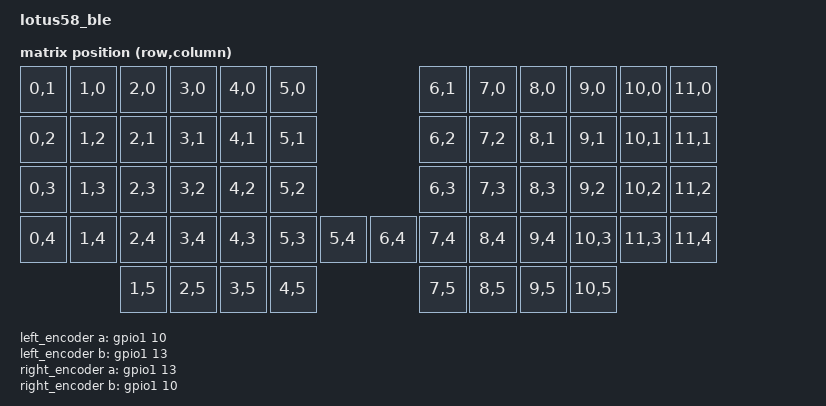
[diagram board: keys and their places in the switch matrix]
/*
 * Copyright (c) 2022 The ZMK Contributors
 *
 * SPDX-License-Identifier: MIT
 */

/dts-v1/;
#include <nordic/nrf52840_qiaa.dtsi>
#include <dt-bindings/zmk/matrix_transform.h>

/ {
	model = "lotus58_ble";
	compatible = "lotus58_ble";

	chosen {
		zephyr,code-partition = &code_partition;
		zephyr,sram = &sram0;
		zephyr,flash = &flash0;
    zmk,matrix_transform = &default_transform;
    zmk,kscan = &kscan0;
    zmk,battery = &vbatt;
	};

  default_transform: keymap_transform_0 {
    compatible = "zmk,matrix-transform";
    columns = <12>;
    rows = <6>;
// | SW6  | SW5  | SW4  | SW3  | SW2  | SW1  |                 | SW1  | SW2  | SW3  | SW4  | SW5  | SW6  |
// | SW12 | SW11 | SW10 | SW9  | SW8  | SW7  |                 | SW7  | SW8  | SW9  | SW10 | SW11 | SW12 |
// | SW18 | SW17 | SW16 | SW15 | SW14 | SW13 | SW30 |   | SW30 | SW13 | SW14 | SW15 | SW16 | SW17 | SW18 |
// | SW24 | SW23 | SW22 | SW21 | SW20 | SW19 | SW25 |   | SW25 | SW19 | SW20 | SW21 | SW22 | SW23 | SW24 |
//                      | SW29 | SW28 | SW27 | SW26 |   | SW26 | SW27 | SW28 | SW29 |
//     map = <
// RC(1,0) RC(0,1) RC(0,2) RC(0,3) RC(0,4) RC(0,5)                      RC(6,1) RC(7,0) RC(8,0) RC(9,0)  RC(10,0) RC(11,0)
// RC(2,0) RC(2,1) RC(1,2) RC(1,3) RC(1,4) RC(1,5)                      RC(6,2) RC(7,2) RC(8,1) RC(9,1)  RC(10,1) RC(11,1)
// RC(3,0) RC(3,1) RC(3,2) RC(2,3) RC(2,4) RC(2,5)                      RC(6,3) RC(7,3) RC(8,3) RC(9,2)  RC(10,2) RC(11,2)
// RC(4,0) RC(4,1) RC(4,2) RC(4,3) RC(3,4) RC(3,5) RC(4,5)      RC(6,4) RC(7,4) RC(8,4) RC(9,4) RC(10,3) RC(11,3) RC(11,4)
//                 RC(5,1) RC(5,2) RC(5,3) RC(5,4)                      RC(7,5) RC(8,5) RC(9,5) RC(10,5)
//     >;
     map = <
RC(0,1) RC(1,0) RC(2,0) RC(3,0) RC(4,0) RC(5,0)                      RC(6,1) RC(7,0) RC(8,0) RC(9,0)  RC(10,0) RC(11,0)
RC(0,2) RC(1,2) RC(2,1) RC(3,1) RC(4,1) RC(5,1)                      RC(6,2) RC(7,2) RC(8,1) RC(9,1)  RC(10,1) RC(11,1)
RC(0,3) RC(1,3) RC(2,3) RC(3,2) RC(4,2) RC(5,2)                      RC(6,3) RC(7,3) RC(8,3) RC(9,2)  RC(10,2) RC(11,2)
RC(0,4) RC(1,4) RC(2,4) RC(3,4) RC(4,3) RC(5,3) RC(5,4)      RC(6,4) RC(7,4) RC(8,4) RC(9,4) RC(10,3) RC(11,3) RC(11,4)
                RC(1,5) RC(2,5) RC(3,5) RC(4,5)                      RC(7,5) RC(8,5) RC(9,5) RC(10,5)
     >;
  };

  kscan0: kscan {
    compatible = "zmk,kscan-gpio-charlieplex";
    interrupt-gpios = <&gpio0 13 (GPIO_ACTIVE_LOW | GPIO_PULL_UP)>; // pin 6
    wakeup-source;
    gpios
      = <&gpio0 28 GPIO_ACTIVE_LOW> // pin 1
      , <&gpio0 3  GPIO_ACTIVE_LOW> // pin 2
      , <&gpio0 9  GPIO_ACTIVE_LOW> // pin 3
      , <&gpio0 10 GPIO_ACTIVE_LOW> // pin 4
      , <&gpio0 24 GPIO_ACTIVE_LOW> // pin 5
      , <&gpio0 2  GPIO_ACTIVE_LOW> // pin 0
      ;
  };

  // leds {
  //   compatible = "gpio-leds";
  //   blue_led: led_0 {
  //     gpios = <&gpio1 11 GPIO_ACTIVE_HIGH>;
  //   };
  // };

  left_encoder: encoder_left {
    compatible = "alps,ec11";
    a-gpios = <&gpio1 10 (GPIO_ACTIVE_HIGH | GPIO_PULL_UP)>;
    b-gpios = <&gpio1 13 (GPIO_ACTIVE_HIGH | GPIO_PULL_UP)>;
    steps = <80>;
    status = "disabled";
  };

  right_encoder: encoder_right {
    compatible = "alps,ec11";
    a-gpios = <&gpio1 13 (GPIO_ACTIVE_HIGH | GPIO_PULL_UP)>;
    b-gpios = <&gpio1 10 (GPIO_ACTIVE_HIGH | GPIO_PULL_UP)>;
    steps = <80>;
    status = "disabled";
  };

  sensors: sensors {
    compatible = "zmk,keymap-sensors";
    sensors = <&left_encoder &right_encoder>;
    triggers-per-rotation = <20>;
  };

  vbatt: vbatt {
    compatible = "zmk,battery-nrf-vddh";
  };

};

&uicr {
  nfct-pins-as-gpios;
};

&adc {
  status = "okay";
};

&gpiote {
	status = "okay";
};

&gpio0 {
	status = "okay";
};

&gpio1 {
	status = "okay";
};

zephyr_udc0: &usbd {
    status = "okay";
};

&pinctrl {
  spi3_default: spi3_default {
    group1 {
      psels = <NRF_PSEL(SPIM_SCK, 0, 29)>,
              <NRF_PSEL(SPIM_MOSI, 0, 30)>;
    };
  };

  spi3_sleep: spi3_sleep {
    group1 {
      psels = <NRF_PSEL(SPIM_SCK, 0, 29)>,
              <NRF_PSEL(SPIM_MOSI, 0, 30)>;
      low-power-enable;
    };
  };
};

&spi3 {
  status = "okay";
  compatible = "nordic,nrf-spim";
  pinctrl-0 = <&spi3_default>;
  pinctrl-1 = <&spi3_sleep>;
  pinctrl-names = "default", "sleep";
  cs-gpios = <&gpio0 31 GPIO_ACTIVE_LOW>;
};

nice_view_spi: &spi3 {};

&flash0 {
	/*
	 * For more information, see:
	 * http://docs.zephyrproject.org/latest/devices/dts/flash_partitions.html
	 */
  partitions {
    compatible = "fixed-partitions";
    #address-cells = <1>;
    #size-cells = <1>;

    sd_partition: partition@0 {
        reg = <0x00000000 0x00026000>;
    };
    code_partition: partition@26000 {
        reg = <0x00026000 0x000c6000>;
    };

    /*
      * The flash starting at 0x000ec000 and ending at
      * 0x000f3fff is reserved for use by the application.
      */

    /*
      * Storage partition will be used by FCB/LittleFS/NVS
      * if enabled.
      */
    storage_partition: partition@ec000 {
        reg = <0x000ec000 0x00008000>;
    };

    boot_partition: partition@f4000 {
        reg = <0x000f4000 0x0000c000>;
    };
  };
};
